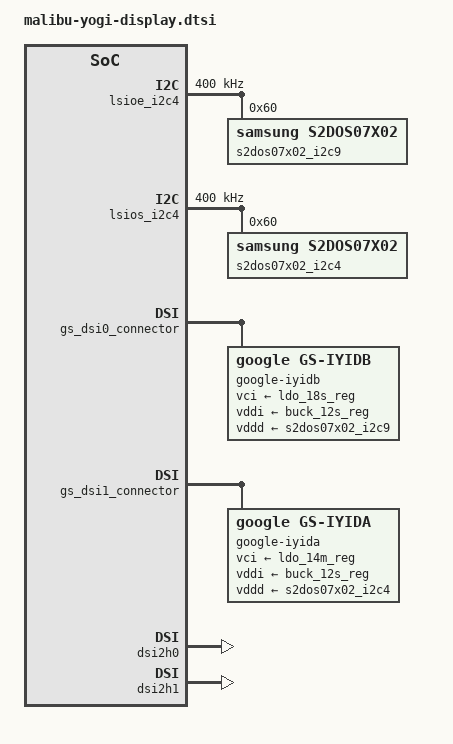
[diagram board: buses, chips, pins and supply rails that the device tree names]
// SPDX-License-Identifier: GPL-2.0-only
/*
 * yogi display device tree source
 *
 * Copyright 2025 Google LLC
 */


&lsioe_i2c4 {
	status = "ok";
	#address-cells = <1>;
	#size-cells = <0>;
	clock-frequency = <400000>;
	s2dos07x02_i2c9: s2dos07x02@60 {
		compatible = "samsung,s2dos07x02";
		reg = <0x60>;
		status = "okay";
		regulator-name = "s2dos07x02-pmic";
	};
};

&lsios_i2c4 {
	status = "okay";
	#address-cells = <1>;
	#size-cells = <0>;
	clock-frequency = <400000>;
	s2dos07x02_i2c4: s2dos07x02@60 {
		compatible = "samsung,s2dos07x02";
		reg = <0x60>;
		status = "okay";
		regulator-name = "s2dos07x02-pmic";
		regulator-max-microvolt = <2100000>;
		regulator-min-microvolt = <850000>;
	};
};

&gs_dsi0_connector {
	google,preferred-panel = <&google_gs_iyidb>;
	/* 0: primary, 1: secondary */
	google,device-index = <1>;

	google_gs_iyidb: panel-gs-iyidb {
		compatible = "google,gs-iyidb";
		label = "google-iyidb";
		channel = <0>;
		allowed-hs-clks = <865 756>;

		/* reset, power */
		reset-gpios = <PMICS2DISP0_RESET_L(GPIO_ACTIVE_HIGH)>;
		tpreset-gpios = <PMICS2TS0_RESET_L_1V2(GPIO_ACTIVE_HIGH)>;
		tout-gpios = <DISP0_2_AP_PROX0_TOUT(GPIO_ACTIVE_HIGH)>;
		vci-supply = <&ldo_18s_reg>;
		vddi-supply = <&buck_12s_reg>;
		vddd-supply = <&s2dos07x02_i2c9>;
		vddd-normal-microvolt = <987500>;
		vddd-lp-microvolt     = <987500>;

		pinctrl-names = "default", "sleep";
		pinctrl-0 = <&disp0pmic2aoss_int_od_l_1v2>;
		pinctrl-1 = <&disp0pmic2aoss_int_od_l_1v2_sleep>;

		/* PMIC IRQB interrupt */
		pmic_irq-gpio = <DISP0PMIC2AOSS_INT_OD_L_1V2(GPIO_ACTIVE_LOW)>;
		pmic-regmap = <&s2dos07x02_i2c9>;
	};
};

&gs_dsi1_connector {
	google,preferred-panel = <&google_gs_iyida>;
	/* 0: primary, 1: secondary */
	google,device-index = <0>;

	google_gs_iyida: panel-gs-iyida {
		compatible = "google,gs-iyida";
		label = "google-iyida";
		channel = <0>;
		/* 0: normal, 1: bottom up, 2: left up, 3: right up */
		orientation = <2>;
		allowed-hs-clks = <1468 1388>;

		/* reset, power */
		reset-gpios = <PMICS2DISP1_RESET_L(GPIO_ACTIVE_HIGH)>;
		tout-gpios = <DISP1_2_AP_PROX1_TOUT_1V2(GPIO_ACTIVE_HIGH)>;
		vci-supply = <&ldo_14m_reg>;
		vddi-supply = <&buck_12s_reg>;
		vddd-supply = <&s2dos07x02_i2c4>;
		vddd-normal-microvolt = <850000>;

		/* pinctrl */
		pinctrl-names = "default", "sleep";
		pinctrl-0 = <&disp1_2_ap_prox1_tout_1v2>, <&disp1pmic2aoss_int_od_l_1v2>;
		pinctrl-1 = <&disp1_2_ap_prox1_tout_1v2_sleep>,
			<&disp1pmic2aoss_int_od_l_1v2_sleep>;

		/* PMIC IRQB interrupt */
		pmic_irq-gpio = <DISP1PMIC2AOSS_INT_OD_L_1V2(GPIO_ACTIVE_LOW)>;
		pmic-regmap = <&s2dos07x02_i2c4>;

	};
};

&dsi2h0 {
	status = "ok";
	datarate = <865>;
};

&dsi2h1 {
	status = "ok";
	datarate = <1468>;
	hs_link_enable;
};
